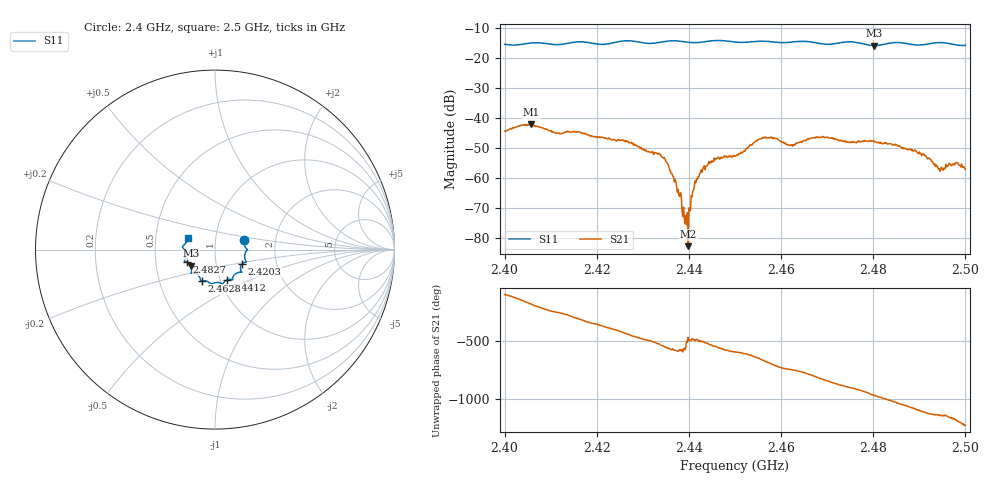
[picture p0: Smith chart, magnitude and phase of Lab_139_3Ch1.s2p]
# Hz S RI R 50
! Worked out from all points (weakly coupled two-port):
!   601 points, 2.4 GHz to 2.5 GHz, reference 50 ohm
!   highest |S21| = -42.02 dB at 2.4058 GHz (marker M1); lowest = -82.6 dB at 2.4398 GHz (marker M2)
!   lowest |S11| = -15.8 dB at 2.4802 GHz (marker M3), VSWR 1.39, Z = 37.5 - j6.91 ohm
!   |S11| at or under -10 dB: start of sweep to end of sweep
!   S12 and S22 are empty: the file has one direction only
!   S11 on the Smith chart (normalised r, x): 2.4 GHz: 1.38, +0.15; 2.4203 GHz: 1.34, -0.22; 2.4412 GHz: 1.08, -0.38; 2.4628 GHz: 0.82, -0.29; 2.4827 GHz: 0.72, -0.10; 2.5 GHz: 0.73, +0.10
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2.4e9  0.162 0.0529  0.000154 -0.00609  0 0  0 0
2.405833e9  0.1795 0.00133  -0.00787 -0.000879  0 0  0 0
2.416667e9  0.1743 -0.0696  0.00371 0.00451  0 0  0 0
2.420333e9  0.152 -0.0792  0.00487 0.000572  0 0  0 0
2.433333e9  0.0998 -0.1522  -0.00245 -0.000869  0 0  0 0
2.435167e9  0.0978 -0.1653  -0.00182 0.000362  0 0  0 0
2.437833e9  0.0957 -0.1676  -0.000394 0.000328  0 0  0 0
2.439e9  0.0892 -0.1657  -0.000206 6.82e-05  0 0  0 0
2.439833e9  0.0822 -0.1652  -1.68e-05 -7.2e-05  0 0  0 0
2.441167e9  0.0685 -0.1683  -0.000389 -0.000599  0 0  0 0
2.4445e9  0.0449 -0.1882  -0.00173 -0.000297  0 0  0 0
2.45e9  0.0246 -0.1844  -0.0015 0.0018  0 0  0 0
2.456333e9  -0.021 -0.1912  0.00301 0.00369  0 0  0 0
2.462833e9  -0.0719 -0.1735  0.00303 -0.00192  0 0  0 0
2.466667e9  -0.0806 -0.1677  0.00125 -0.00451  0 0  0 0
2.480167e9  -0.1356 -0.0896  -0.00127 0.00397  0 0  0 0
2.482667e9  -0.1578 -0.0706  0.000749 0.00375  0 0  0 0
2.483333e9  -0.1631 -0.0686  0.00156 0.00342  0 0  0 0
2.4905e9  -0.1657 -0.0147  0.00206 -0.00118  0 0  0 0
2.494667e9  -0.1815 0.017  0.000573 -0.00135  0 0  0 0
2.498e9  -0.1623 0.0371  -0.000582 -0.00174  0 0  0 0
2.5e9  -0.1508 0.0646  -0.00127 -0.000562  0 0  0 0
